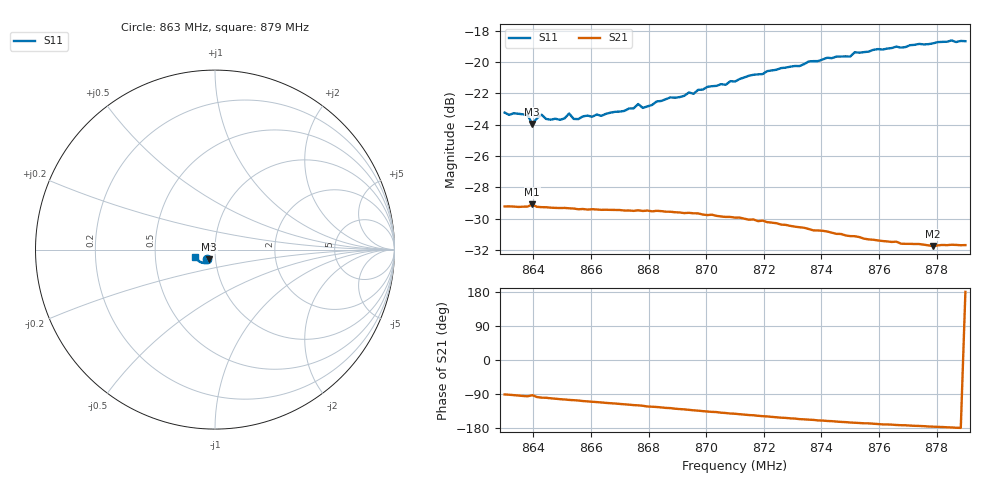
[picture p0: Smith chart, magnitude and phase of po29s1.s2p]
# HZ S RI R 50
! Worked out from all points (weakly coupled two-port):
!   101 points, 863 MHz to 879 MHz, reference 50 ohm
!   highest |S21| = -29.09 dB at 863.96 MHz (marker M1); lowest = -31.8 dB at 877.88 MHz (marker M2)
!   lowest |S11| = -24.0 dB at 863.96 MHz (marker M3), VSWR 1.14, Z = 46.5 - j5.03 ohm
!   |S11| at or under -10 dB: start of sweep to end of sweep
!   S12 and S22 are empty: the file has one direction only
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8.63e8  -0.0437 -0.0534  -0.000529 -0.0346  0 0  0 0
8.638e8  -0.0407 -0.054  -0.00352 -0.0344  0 0  0 0
8.6396e8  -0.0335 -0.0538  -0.00171 -0.0351  0 0  0 0
8.6428e8  -0.0389 -0.0557  -0.00559 -0.034  0 0  0 0
8.646e8  -0.037 -0.054  -0.00659 -0.0337  0 0  0 0
8.6508e8  -0.0356 -0.0557  -0.00838 -0.0332  0 0  0 0
8.6524e8  -0.0407 -0.0551  -0.00904 -0.0329  0 0  0 0
8.654e8  -0.0348 -0.0559  -0.00942 -0.0328  0 0  0 0
8.6572e8  -0.0348 -0.0574  -0.0107 -0.0322  0 0  0 0
8.6716e8  -0.034 -0.061  -0.0152 -0.0299  0 0  0 0
8.6748e8  -0.034 -0.0626  -0.0163 -0.0293  0 0  0 0
8.6764e8  -0.0359 -0.0641  -0.0167 -0.0292  0 0  0 0
8.678e8  -0.0346 -0.0624  -0.0172 -0.0287  0 0  0 0
8.6844e8  -0.0364 -0.0657  -0.0192 -0.0273  0 0  0 0
8.71e8  -0.0463 -0.0733  -0.0251 -0.0197  0 0  0 0
8.7148e8  -0.0503 -0.0751  -0.0258 -0.0179  0 0  0 0
8.7372e8  -0.0679 -0.0743  -0.0269 -0.0108  0 0  0 0
8.75e8  -0.0781 -0.0689  -0.0269 -0.00721  0 0  0 0
8.7516e8  -0.0818 -0.0698  -0.0269 -0.00694  0 0  0 0
8.7644e8  -0.0913 -0.0629  -0.0263 -0.0044  0 0  0 0
8.7788e8  -0.1031 -0.0503  -0.0258 -0.00185  0 0  0 0
8.79e8  -0.1095 -0.0402  -0.026 8.6e-05  0 0  0 0
